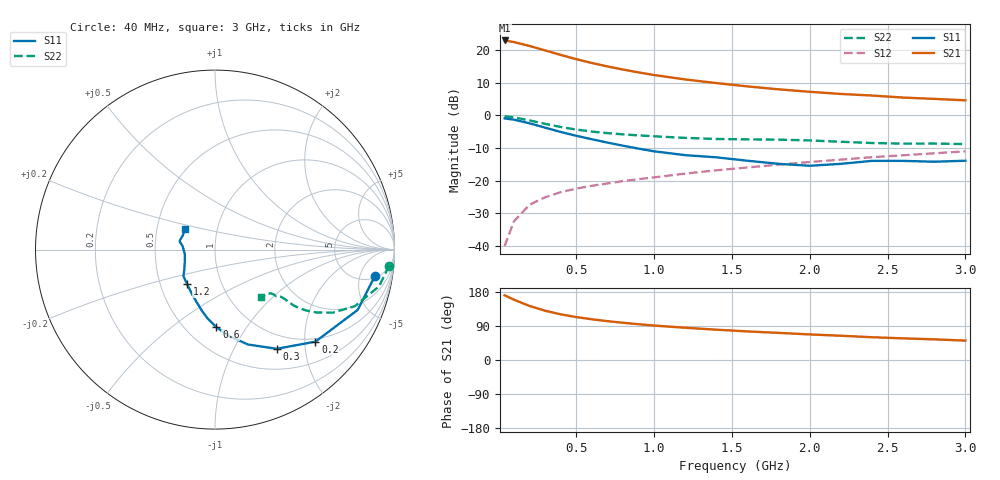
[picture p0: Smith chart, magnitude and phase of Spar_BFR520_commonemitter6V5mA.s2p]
! Filename:  BFR520H.S2P  Version:  2.1
! NXP part #: BFR520  Date: Sep 1991
! Bias condition: Vce=6V, Ic=5mA
#  MHz  S  MA  R  50
! Freq  S11  S21  S12  S22  !GUM [dB]
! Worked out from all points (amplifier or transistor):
!   21 points, 40 MHz to 3 GHz, reference 50 ohm
!   highest |S21| = 23.0 dB at 40 MHz (marker M1)
!   |S21| within 3 dB of that: start of sweep to 297.3 MHz
!   unconditionally stable (mu >= 1): 1.443 GHz to end of sweep
!   at 300 MHz: K = 0.42, MSG = 22.5 dB, |S12| = -25.0 dB
!   at 1 GHz: K = 0.91, MSG = 15.7 dB, |S12| = -18.9 dB
!   at 3 GHz: K = 1.03, MAG = 6.7 dB, |S12| = -11.0 dB
!   lowest NFmin = 0.90 dB at 500 MHz
!   S11 on the Smith chart (normalised r, x): 40 MHz: 5, -9; 200 MHz: 0.93, -2.24; 300 MHz: 0.78, -1.50; 600 MHz: 0.69, -0.74; 1.2 GHz: 0.68, -0.28; 3 GHz: 0.70, +0.17
40  0.903 -9.4  14.06 170.8  0.01 85.3  0.974 -5.3
100  0.863 -22.9  13.29 159.1  0.024 77.4  0.937 -12.6
200  0.759 -42.5  11.59 142.6  0.043 69.2  0.841 -22.0
300  0.651 -58.1  9.914 130.1  0.056 64.1  0.745 -28.1
400  0.56 -70.8  8.45 120.5  0.067 61.2  0.667 -31.7
500  0.489 -80.6  7.274 113.3  0.076 60.0  0.609 -33.8
600  0.433 -88.9  6.36 107.5  0.084 60.0  0.567 -34.9
700  0.385 -96.3  5.636 102.5  0.091 60.6  0.537 -35.4
800  0.345 -102.7  5.045 98.3  0.099 61.2  0.514 -35.4
900  0.311 -109.0  4.566 94.4  0.106 61.9  0.496 -35.4
1000  0.283 -116.2  4.16 90.9  0.113 62.5  0.48 -35.3
1200  0.247 -129.2  3.558 85.1  0.129 63.7  0.454 -35.5
1400  0.229 -140.2  3.134 80.0  0.145 64.6  0.437 -36.5
1600  0.203 -147.3  2.786 75.4  0.16 65.2  0.431 -36.7
1800  0.182 -157.7  2.513 71.6  0.177 66.0  0.427 -37.4
2000  0.17 -171.9  2.304 67.5  0.194 66.0  0.415 -37.3
2200  0.182 173.7  2.136 64.0  0.211 66.0  0.396 -38.0
2400  0.202 167.1  2.019 60.1  0.23 65.7  0.379 -40.6
2600  0.202 164.7  1.88 57.1  0.246 65.2  0.371 -43.9
2800  0.196 157.1  1.795 54.5  0.264 65.1  0.372 -45.7
3000  0.203 144.7  1.706 51.2  0.283 64.4  0.365 -45.9
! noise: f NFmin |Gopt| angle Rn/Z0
500  0.9  0.442  25  0.27
900  1.1  0.374  44  0.26
1000  1.15  0.378  48  0.27
2000  1.85  0.232  135  0.15
